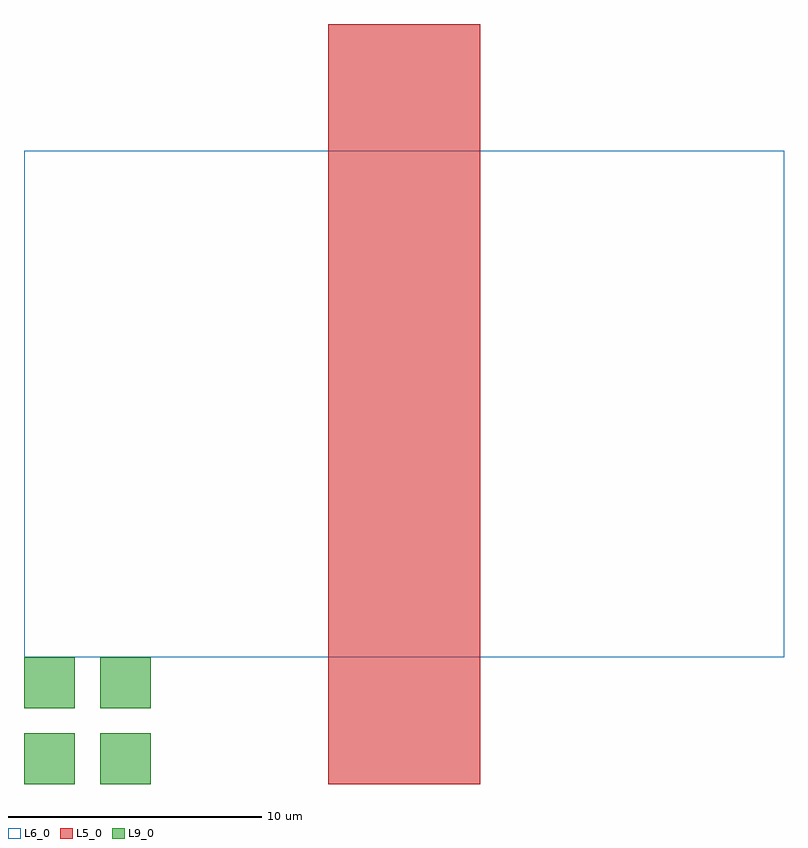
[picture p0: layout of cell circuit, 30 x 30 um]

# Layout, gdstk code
import gdstk
lib = gdstk.Library(unit=1e-6, precision=1e-09)
def R(c, l, rs):  # rectangles x0, y0, x1, y1
    for r in rs: c.add(gdstk.rectangle(r[:2], r[2:], *l))
L5_0 = (5, 0)
L6_0 = (6, 0)
L9_0 = (9, 0)

contact_2x2_c1 = lib.new_cell('contact_2x2_c1')
R(contact_2x2_c1, L9_0, [(0,0,2,2), (3,0,5,2), (0,3,2,5), (3,3,5,5)])

contact_2x2_c2 = lib.new_cell('contact_2x2_c2')
R(contact_2x2_c2, L9_0, [(0,0,2,2), (3,0,5,2), (0,3,2,5), (3,3,5,5)])

mos_transistor_c1 = lib.new_cell('mos_transistor_c1')
R(mos_transistor_c1, L5_0, [(12,0,18,30)])
R(mos_transistor_c1, L6_0, [(0,5,30,25)])
mos_transistor_c1.add(gdstk.Reference(contact_2x2_c1, (0,0)))
mos_transistor_c1.add(gdstk.Reference(contact_2x2_c2, (0,0)))

mos_transistor_c2 = lib.new_cell('mos_transistor_c2')
R(mos_transistor_c2, L5_0, [(12,0,18,30)])
R(mos_transistor_c2, L6_0, [(0,5,30,25)])
mos_transistor_c2.add(gdstk.Reference(contact_2x2_c1, (0,0)))
mos_transistor_c2.add(gdstk.Reference(contact_2x2_c2, (0,0)))

circuit = lib.new_cell('circuit')
circuit.add(gdstk.Reference(mos_transistor_c1, (0,0)))
circuit.add(gdstk.Reference(mos_transistor_c2, (0,0)))

lib.write_gds('circuit.gds')
